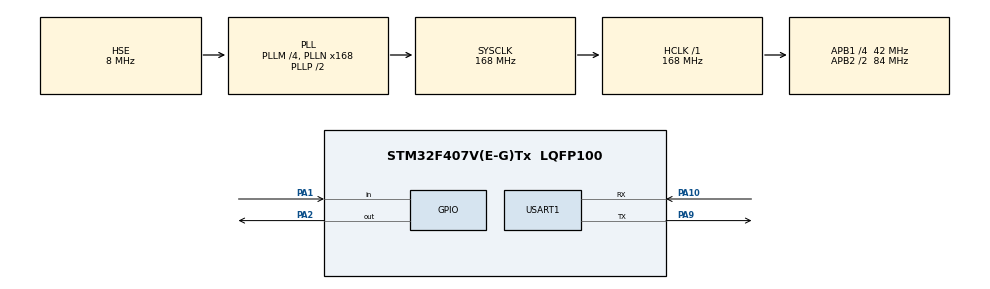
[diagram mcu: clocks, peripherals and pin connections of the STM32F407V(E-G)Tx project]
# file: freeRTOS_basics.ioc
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FREERTOS.Tasks01=task1,0,128,start_task1,Default,NULL,Dynamic,NULL,NULL;task2,-3,128,start_task2,Default,NULL,Dynamic,NULL,NULL
Mcu.Family=STM32F4
Mcu.Name=STM32F407V(E-G)Tx
Mcu.Package=LQFP100
NVIC.PriorityGroup=NVIC_PRIORITYGROUP_4
NVIC.TIM5_IRQn=true\:0\:0\:false\:false\:true\:false\:false\:true
NVIC.TimeBase=TIM5_IRQn
NVIC.TimeBaseIP=TIM5
PA1.GPIO_PuPd=GPIO_PULLUP
PA1.Signal=GPIO_Input
PA10.Mode=Asynchronous
PA10.Signal=USART1_RX
PA2.GPIO_PuPd=GPIO_PULLUP
PA2.Signal=GPIO_Output
PA9.Mode=Asynchronous
PA9.Signal=USART1_TX
PH0-OSC_IN.Mode=HSE-External-Oscillator
PH0-OSC_IN.Signal=RCC_OSC_IN
PH1-OSC_OUT.Mode=HSE-External-Oscillator
PH1-OSC_OUT.Signal=RCC_OSC_OUT
ProjectManager.HeapSize=0x200
ProjectManager.StackSize=0x400
ProjectManager.TargetToolchain=MDK-ARM V5
RCC.48MHZClocksFreq_Value=48000000
RCC.AHBFreq_Value=168000000
RCC.APB1CLKDivider=RCC_HCLK_DIV4
RCC.APB1Freq_Value=42000000
RCC.APB1TimFreq_Value=84000000
RCC.APB2CLKDivider=RCC_HCLK_DIV2
RCC.APB2Freq_Value=84000000
RCC.APB2TimFreq_Value=168000000
RCC.CortexFreq_Value=168000000
RCC.HCLKFreq_Value=168000000
RCC.HSE_VALUE=8000000
RCC.HSI_VALUE=16000000
RCC.LSE_VALUE=32768
RCC.PLLM=4
RCC.PLLN=168
RCC.PLLQ=7
RCC.PLLSourceVirtual=RCC_PLLSOURCE_HSE
RCC.SYSCLKFreq_VALUE=168000000
RCC.SYSCLKSource=RCC_SYSCLKSOURCE_PLLCLK
RCC.VCOOutputFreq_Value=336000000
USART1.VirtualMode=VM_ASYNC
VP_FREERTOS_VS_CMSIS_V1.Mode=CMSIS_V1
VP_SYS_VS_tim5.Mode=TIM5
board=STM32F407G-DISC1

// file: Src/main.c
/* USER CODE BEGIN Header */
/**
  ******************************************************************************
  * @file           : main.c
  * @brief          : Main program body
  ******************************************************************************
  * @attention
  *
  * <h2><center>&copy; Copyright (c) 2021 STMicroelectronics.
  * All rights reserved.</center></h2>
  *
  * This software component is licensed by ST under Ultimate Liberty license
  * SLA0044, the "License"; You may not use this file except in compliance with
  * the License. You may obtain a copy of the License at:
  *                             www.st.com/SLA0044
  *
  ******************************************************************************
  */
/* USER CODE END Header */

#include "main.h"
#include "cmsis_os.h"
#include "usart.h"
#include "gpio.h"

void SystemClock_Config(void);
void MX_FREERTOS_Init(void);
/* USER CODE BEGIN PFP */
int _write(int file ,char *ptr,int len)
{
	for(int i=0;i<len;i++)
	{
		ITM_SendChar((*ptr++));

	}
			return len;

}
/* USER CODE END PFP */

int main(void)
{

  /* MCU Configuration--------------------------------------------------------*/

  /* Reset of all peripherals, Initializes the Flash interface and the Systick. */
  HAL_Init();

  /* Configure the system clock */
  SystemClock_Config();

  /* Initialize all configured peripherals */
  MX_GPIO_Init();
  MX_USART1_UART_Init();

  /* Call init function for freertos objects (in freertos.c) */
  MX_FREERTOS_Init();

  /* Start scheduler */
  osKernelStart();

  /* We should never get here as control is now taken by the scheduler */

  /* Infinite loop */
  while (1)
  {

  }
}

void SystemClock_Config(void)
{
  RCC_OscInitTypeDef RCC_OscInitStruct = {0};
  RCC_ClkInitTypeDef RCC_ClkInitStruct = {0};

  /** Configure the main internal regulator output voltage
  */
  __HAL_RCC_PWR_CLK_ENABLE();
  __HAL_PWR_VOLTAGESCALING_CONFIG(PWR_REGULATOR_VOLTAGE_SCALE1);
  /** Initializes the CPU, AHB and APB busses clocks
  */
  RCC_OscInitStruct.OscillatorType = RCC_OSCILLATORTYPE_HSE;
  RCC_OscInitStruct.HSEState = RCC_HSE_ON;
  RCC_OscInitStruct.PLL.PLLState = RCC_PLL_ON;
  RCC_OscInitStruct.PLL.PLLSource = RCC_PLLSOURCE_HSE;
  RCC_OscInitStruct.PLL.PLLM = 4;
  RCC_OscInitStruct.PLL.PLLN = 168;
  RCC_OscInitStruct.PLL.PLLP = RCC_PLLP_DIV2;
  RCC_OscInitStruct.PLL.PLLQ = 7;
  if (HAL_RCC_OscConfig(&RCC_OscInitStruct) != HAL_OK)
  {
    Error_Handler();
  }
  /** Initializes the CPU, AHB and APB busses clocks
  */
  RCC_ClkInitStruct.ClockType = RCC_CLOCKTYPE_HCLK|RCC_CLOCKTYPE_SYSCLK
                              |RCC_CLOCKTYPE_PCLK1|RCC_CLOCKTYPE_PCLK2;
  RCC_ClkInitStruct.SYSCLKSource = RCC_SYSCLKSOURCE_PLLCLK;
  RCC_ClkInitStruct.AHBCLKDivider = RCC_SYSCLK_DIV1;
  RCC_ClkInitStruct.APB1CLKDivider = RCC_HCLK_DIV4;
  RCC_ClkInitStruct.APB2CLKDivider = RCC_HCLK_DIV2;

  if (HAL_RCC_ClockConfig(&RCC_ClkInitStruct, FLASH_LATENCY_5) != HAL_OK)
  {
    Error_Handler();
  }
}

void HAL_TIM_PeriodElapsedCallback(TIM_HandleTypeDef *htim)
{
  if (htim->Instance == TIM5) {
    HAL_IncTick();
  }
}

void Error_Handler(void)
{
}

/************************ (C) COPYRIGHT STMicroelectronics *****END OF FILE****/

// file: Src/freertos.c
/* USER CODE BEGIN Header */
/**
  ******************************************************************************
  * File Name          : freertos.c
  * Description        : Code for freertos applications
  ******************************************************************************
  * @attention
  *
  * <h2><center>&copy; Copyright (c) 2021 STMicroelectronics.
  * All rights reserved.</center></h2>
  *
  * This software component is licensed by ST under Ultimate Liberty license
  * SLA0044, the "License"; You may not use this file except in compliance with
  * the License. You may obtain a copy of the License at:
  *                             www.st.com/SLA0044
  *
  ******************************************************************************
  */
/* USER CODE END Header */

#include "FreeRTOS.h"
#include "task.h"
#include "main.h"
#include "cmsis_os.h"
#include "usart.h"

osThreadId task1Handle;
osThreadId task2Handle;
osThreadId task3Handle;

void start_task1(void const * argument);
void start_task2(void const * argument);
void start_task3(void const * argument);

void MX_FREERTOS_Init(void); /* (MISRA C 2004 rule 8.1) */

/* GetIdleTaskMemory prototype (linked to static allocation support) */
void vApplicationGetIdleTaskMemory( StaticTask_t **ppxIdleTaskTCBBuffer, StackType_t **ppxIdleTaskStackBuffer, uint32_t *pulIdleTaskStackSize );

/* USER CODE BEGIN GET_IDLE_TASK_MEMORY */
static StaticTask_t xIdleTaskTCBBuffer;
static StackType_t xIdleStack[configMINIMAL_STACK_SIZE];

void vApplicationGetIdleTaskMemory( StaticTask_t **ppxIdleTaskTCBBuffer, StackType_t **ppxIdleTaskStackBuffer, uint32_t *pulIdleTaskStackSize )
{
  *ppxIdleTaskTCBBuffer = &xIdleTaskTCBBuffer;
  *ppxIdleTaskStackBuffer = &xIdleStack[0];
  *pulIdleTaskStackSize = configMINIMAL_STACK_SIZE;
  /* place for user code */
}
/* USER CODE END GET_IDLE_TASK_MEMORY */

void MX_FREERTOS_Init(void) {

  /* Create the thread(s) */
  /* definition and creation of task1 */
  osThreadDef(task1, start_task1, osPriorityNormal, 0, 128);
  task1Handle = osThreadCreate(osThread(task1), NULL);

  /* definition and creation of task2 */
  osThreadDef(task2, start_task2, osPriorityNormal, 0, 128);
  task2Handle = osThreadCreate(osThread(task2), NULL);

  /* USER CODE BEGIN RTOS_THREADS */
  /* add threads, ... */
	osThreadDef(task3,start_task3,osPriorityNormal,0,128);
	task3Handle= osThreadCreate(osThread(task3),NULL);
  /* USER CODE END RTOS_THREADS */

}

void start_task1(void const * argument)
{

  /* USER CODE BEGIN start_task1 */
  /* Infinite loop */
	uint8_t data1[]="hi from task1\n";
  for(;;)
  {
		//HAL_UART_Transmit(&huart1,(uint8_t *)data1,sizeof(data1),100);
		printf("hi task1\n");
    osDelay(1000);
  }
  /* USER CODE END start_task1 */
}

void start_task2(void const * argument)
{
  /* USER CODE BEGIN start_task2 */
  /* Infinite loop */
  uint8_t data2[]="hi from task2\n";
  for(;;)
  {
		//HAL_UART_Transmit(&huart1,(uint8_t *)data2,sizeof(data2),100);
		printf("hi task2\n");
    osDelay(1000);
  }
  /* USER CODE END start_task2 */
}

/* USER CODE BEGIN Application */
void start_task3(void const * argument)
{
  /* USER CODE BEGIN start_task2 */
  /* Infinite loop */
  uint8_t data3[]="hi from task3\n";
  for(;;)
  {
		//HAL_UART_Transmit(&huart1,(uint8_t *)data3,sizeof(data3),100);
		printf("hi task3\n");
    osDelay(1000);
  }
  /* USER CODE END start_task2 */
}
/* USER CODE END Application */

/************************ (C) COPYRIGHT STMicroelectronics *****END OF FILE****/
